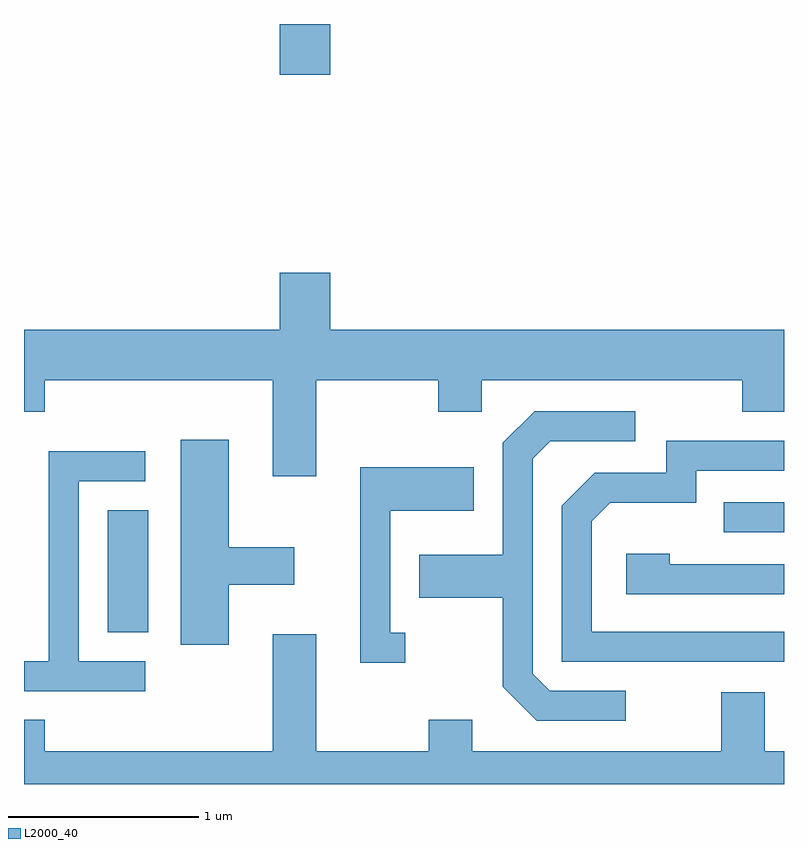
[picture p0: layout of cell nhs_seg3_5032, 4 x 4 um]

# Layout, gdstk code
import gdstk
lib = gdstk.Library(unit=1e-6, precision=1e-09)
def R(c, l, rs):  # rectangles x0, y0, x1, y1
    for r in rs: c.add(gdstk.rectangle(r[:2], r[2:], *l))
def P(c, l, *ps):  # polygons
    for p in ps: c.add(gdstk.Polygon(p, *l))
L2000_40 = (2000, 40)

nhs_seg3_5032 = lib.new_cell('nhs_seg3_5032')
R(nhs_seg3_5032, L2000_40, [(334.051,1124.691,334.264,1125.334), (337.293,1125.216,337.611,1125.374), (334.956,1127.626,335.224,1127.892)])
P(nhs_seg3_5032, L2000_40, [(335.149,1126.016),(335.791,1126.016),(335.791,1125.851),(336.019,1125.851),(336.019,1126.016),(337.391,1126.016),(337.391,1125.851),(337.611,1125.851),(337.611,1126.284),(335.224,1126.284),(335.224,1126.584),(334.956,1126.584),(334.956,1126.284),(333.611,1126.284),(333.611,1125.851),(333.719,1125.851),(333.719,1126.016),(334.921,1126.016),(334.921,1125.511),(335.149,1125.511)],
  [(336.778,1124.384),(336.377,1124.384),(336.289,1124.472),(336.289,1125.604),(336.382,1125.696),(336.828,1125.696),(336.828,1125.854),(336.299,1125.854),(336.131,1125.687),(336.131,1125.099),(335.691,1125.099),(335.691,1124.871),(336.131,1124.871),(336.131,1124.404),(336.309,1124.226),(336.778,1124.226)],
  [(334.689,1124.941),(335.034,1124.941),(335.034,1125.139),(334.689,1125.139),(334.689,1125.704),(334.436,1125.704),(334.436,1124.626),(334.689,1124.626)],
  [(337.611,1124.694),(336.599,1124.694),(336.599,1125.274),(336.697,1125.371),(337.149,1125.371),(337.149,1125.541),(337.611,1125.541),(337.611,1125.699),(336.991,1125.699),(336.991,1125.529),(336.614,1125.529),(336.441,1125.357),(336.441,1124.536),(337.611,1124.536)],
  [(334.248,1124.539),(333.899,1124.539),(333.899,1125.486),(334.248,1125.486),(334.248,1125.644),(333.741,1125.644),(333.741,1124.539),(333.611,1124.539),(333.611,1124.381),(334.248,1124.381)],
  [(335.618,1124.689),(335.539,1124.689),(335.539,1125.331),(335.979,1125.331),(335.979,1125.559),(335.381,1125.559),(335.381,1124.531),(335.618,1124.531)],
  [(337.611,1125.049),(337.009,1125.049),(337.009,1125.104),(336.781,1125.104),(336.781,1124.891),(337.611,1124.891)],
  [(337.611,1124.064),(337.509,1124.064),(337.509,1124.374),(337.281,1124.374),(337.281,1124.064),(335.969,1124.064),(335.969,1124.229),(335.741,1124.229),(335.741,1124.064),(335.149,1124.064),(335.149,1124.679),(334.921,1124.679),(334.921,1124.064),(333.719,1124.064),(333.719,1124.229),(333.611,1124.229),(333.611,1123.892),(337.611,1123.892)])

lib.write_gds('nhs_seg3_5032.gds')
